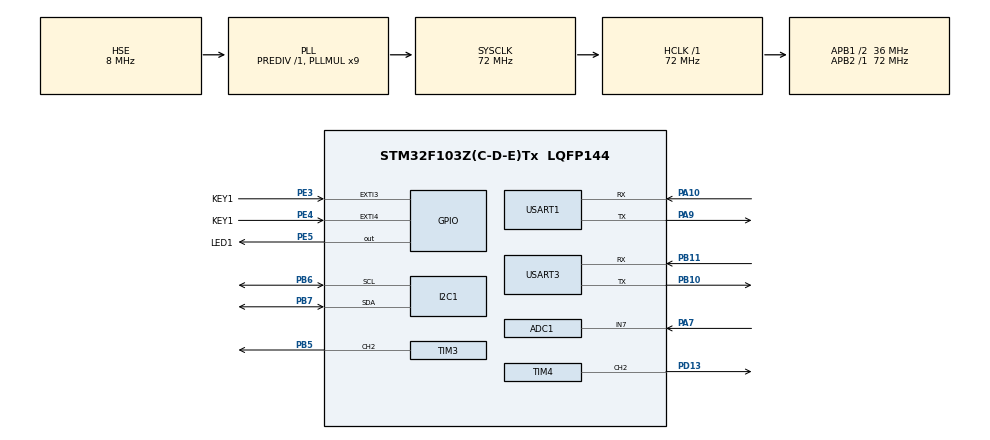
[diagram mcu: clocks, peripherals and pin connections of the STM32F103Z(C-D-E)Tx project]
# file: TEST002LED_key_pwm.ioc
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ADC1.Channel-0\#ChannelRegularConversion=ADC_CHANNEL_7
ADC1.Channel-1\#ChannelRegularConversion=ADC_CHANNEL_TEMPSENSOR
ADC1.Channel-2\#ChannelRegularConversion=ADC_CHANNEL_VREFINT
ADC1.ContinuousConvMode=ENABLE
ADC1.NbrOfConversion=3
ADC1.NbrOfConversionFlag=1
ADC1.Rank-0\#ChannelRegularConversion=1
ADC1.Rank-1\#ChannelRegularConversion=2
ADC1.Rank-2\#ChannelRegularConversion=3
ADC1.SamplingTime-0\#ChannelRegularConversion=ADC_SAMPLETIME_239CYCLES_5
ADC1.SamplingTime-1\#ChannelRegularConversion=ADC_SAMPLETIME_239CYCLES_5
ADC1.SamplingTime-2\#ChannelRegularConversion=ADC_SAMPLETIME_239CYCLES_5
ADC1.master=1
Dma.ADC1.0.Direction=DMA_PERIPH_TO_MEMORY
Dma.ADC1.0.Instance=DMA1_Channel1
Dma.ADC1.0.MemDataAlignment=DMA_MDATAALIGN_HALFWORD
Dma.ADC1.0.MemInc=DMA_MINC_ENABLE
Dma.ADC1.0.Mode=DMA_CIRCULAR
Dma.ADC1.0.PeriphDataAlignment=DMA_PDATAALIGN_HALFWORD
Dma.ADC1.0.PeriphInc=DMA_PINC_DISABLE
Dma.ADC1.0.Priority=DMA_PRIORITY_LOW
Dma.Request0=ADC1
Mcu.Family=STM32F1
Mcu.Name=STM32F103Z(C-D-E)Tx
Mcu.Package=LQFP144
NVIC.DMA1_Channel1_IRQn=true\:0\:0\:false\:false\:true\:false\:true\:true
NVIC.EXTI3_IRQn=true\:15\:0\:true\:false\:true\:true\:true\:true
NVIC.EXTI4_IRQn=true\:15\:0\:true\:false\:true\:true\:true\:true
NVIC.PriorityGroup=NVIC_PRIORITYGROUP_4
NVIC.TIM1_UP_IRQn=true\:0\:0\:false\:false\:true\:true\:true\:true
NVIC.TIM6_IRQn=true\:0\:0\:false\:false\:true\:true\:true\:true
NVIC.USART1_IRQn=true\:0\:0\:false\:false\:true\:true\:true\:true
NVIC.USART3_IRQn=true\:0\:0\:false\:false\:true\:true\:true\:true
OSC_IN.Mode=HSE-External-Oscillator
OSC_IN.Signal=RCC_OSC_IN
OSC_OUT.Mode=HSE-External-Oscillator
OSC_OUT.Signal=RCC_OSC_OUT
PA10.Mode=Asynchronous
PA10.Signal=USART1_RX
PA13.Mode=Serial_Wire
PA13.Signal=SYS_JTMS-SWDIO
PA14.Mode=Serial_Wire
PA14.Signal=SYS_JTCK-SWCLK
PA7.Signal=ADCx_IN7
PA9.Mode=Asynchronous
PA9.Signal=USART1_TX
PB10.Mode=Asynchronous
PB10.Signal=USART3_TX
PB11.Mode=Asynchronous
PB11.Signal=USART3_RX
PB5.Signal=S_TIM3_CH2
PB6.Mode=I2C
PB6.Signal=I2C1_SCL
PB7.Mode=I2C
PB7.Signal=I2C1_SDA
PC14-OSC32_IN.Mode=LSE-External-Oscillator
PC14-OSC32_IN.Signal=RCC_OSC32_IN
PC15-OSC32_OUT.Mode=LSE-External-Oscillator
PC15-OSC32_OUT.Signal=RCC_OSC32_OUT
PD13.Signal=S_TIM4_CH2
PE3.GPIO_Label=KEY1
PE3.GPIO_ModeDefaultEXTI=GPIO_MODE_IT_FALLING
PE3.GPIO_PuPd=GPIO_PULLUP
PE3.Signal=GPXTI3
PE4.GPIO_Label=KEY1
PE4.GPIO_ModeDefaultEXTI=GPIO_MODE_IT_FALLING
PE4.GPIO_PuPd=GPIO_PULLUP
PE4.Signal=GPXTI4
PE5.GPIO_Label=LED1
PE5.Signal=GPIO_Output
ProjectManager.HeapSize=0x200
ProjectManager.StackSize=0x400
ProjectManager.TargetToolchain=MDK-ARM V5.32
RCC.ADCPresc=RCC_ADCPCLK2_DIV8
RCC.AHBFreq_Value=72000000
RCC.APB1CLKDivider=RCC_HCLK_DIV2
RCC.APB1Freq_Value=36000000
RCC.APB1TimFreq_Value=72000000
RCC.APB2Freq_Value=72000000
RCC.APB2TimFreq_Value=72000000
RCC.HCLKFreq_Value=72000000
RCC.PLLMUL=RCC_PLL_MUL9
RCC.PLLSourceVirtual=RCC_PLLSOURCE_HSE
RCC.SYSCLKFreq_VALUE=72000000
RCC.SYSCLKSource=RCC_SYSCLKSOURCE_PLLCLK
RCC.USBFreq_Value=72000000
SH.ADCx_IN7.0=ADC1_IN7,IN7
SH.S_TIM3_CH2.0=TIM3_CH2,PWM Generation2 CH2
SH.S_TIM4_CH2.0=TIM4_CH2,PWM Generation2 CH2
TIM1.AutoReloadPreload=TIM_AUTORELOAD_PRELOAD_ENABLE
TIM1.Period=1800-1
TIM1.Prescaler=2500-1
TIM3.AutoReloadPreload=TIM_AUTORELOAD_PRELOAD_ENABLE
TIM3.Channel-PWM\ Generation2\ CH2=TIM_CHANNEL_2
TIM3.OCPolarity_2=TIM_OCPOLARITY_HIGH
TIM3.Period=10000-1
TIM3.Prescaler=144-1
TIM3.Pulse-PWM\ Generation2\ CH2=5000
TIM4.AutoReloadPreload=TIM_AUTORELOAD_PRELOAD_ENABLE
TIM4.Channel-PWM\ Generation2\ CH2=TIM_CHANNEL_2
TIM4.Period=65535-1
TIM4.Prescaler=6-1
TIM6.Period=65535-1
TIM6.Prescaler=6-1
TIM7.Period=1000
TIM7.Prescaler=2880
USART1.VirtualMode=VM_ASYNC
USART3.VirtualMode=VM_ASYNC
VP_ADC1_TempSens_Input.Mode=IN-TempSens
VP_ADC1_Vref_Input.Mode=IN-Vrefint
VP_TIM1_VS_ClockSourceINT.Mode=Internal
VP_TIM4_VS_ClockSourceINT.Mode=Internal
VP_TIM6_VS_ClockSourceINT.Mode=Enable_Timer
VP_TIM7_VS_ClockSourceINT.Mode=Enable_Timer
board=custom

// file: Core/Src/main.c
/* USER CODE BEGIN Header */
/**
  ******************************************************************************
  * @file           : main.c
  * @brief          : Main program body
  ******************************************************************************
  * @attention
  *
  * Copyright (c) 2024 STMicroelectronics.
  * All rights reserved.
  *
  * This software is licensed under terms that can be found in the LICENSE file
  * in the root directory of this software component.
  * If no LICENSE file comes with this software, it is provided AS-IS.
  *
  ******************************************************************************
  */
/* USER CODE END Header */
#include "main.h"
#include "adc.h"
#include "dma.h"
#include "i2c.h"
#include "tim.h"
#include "usart.h"
#include "gpio.h"
#include "ssd1306.h"
#include "fonts.h"
#include "string.h"

/* USER CODE BEGIN Includes */
#include "stdio.h"
/* USER CODE END Includes */

void SystemClock_Config(void);

/* USER CODE BEGIN 0 */

//设置TME3的CH2通道的周期时间
//参数newfrep为毫秒单位，整数，例如1代表1ms
uint8_t test[5]={1,2,3,4,5};
void Time3PWM(int newfrep)
{

}

 int originmynum=20;
 int mynum=20;
 int mycount=0;
 int pwmVal=0;
int myflag=1;
uint8_t myrebuf3[800]; //串口3接收缓冲区
uint8_t myrebuf1[800]; //串口1接收缓冲区
int mywritept3=0; //串口3写指针
int myreadpt3=0;  //串口3读指针
int myreadpt32=0;  //串口3读指针

int mywritept1=0; //串口1写指针
int myreadpt1=0;  //串口1读指针
uint16_t my_adbuff1[10][3];  //50行，3列。每个adc采集周期，填充一行数据，按先后顺序填充0-1-2
int BreaVelo=264;
float temp=0;
float tmpdata=0;
const int N=1e7;
void wait()
{
	for (int i=0;i<7*N;i++)
	{;
	}
}

void BeepPlay(char cmd)
{
	  int safevolume=0;
		int alertvolume=32767;
		if(cmd=='A')
		{
			 __HAL_TIM_SET_COMPARE(&htim4,TIM_CHANNEL_2,alertvolume); //控制占空比，调整音量
    //在不使用缓冲的情况下，必须把计数值清零
			__HAL_TIM_SET_COUNTER(&htim4,0);
		}
		else if (cmd=='S')
		{
				__HAL_TIM_SET_COMPARE(&htim4,TIM_CHANNEL_2,safevolume); //控制占空比，调整音量
			//在不使用缓冲的情况下，必须把计数值清零
			__HAL_TIM_SET_COUNTER(&htim4,0);
		}

}
void read()
{
		while(myreadpt1<mywritept1)
		{
			HAL_UART_Transmit(&huart3,&myrebuf1[myreadpt1++],1,1000);

		}
		if(myreadpt1>mywritept1)
			myreadpt1=0;

}

void send_to_tcpserver()
{

	//const char* Chat=chat;
	//strlen(Chat);
	char Cmd[100];
	//char end[20]="\r\n";
	sprintf(Cmd,"AT+CIPSEND\r\n");//必须是AT+CIPSEND 不能是AT+CIPSEND=《lenth》 和手册上写的不一样
	HAL_UART_Transmit(&huart3,(uint8_t*)Cmd,sizeof Cmd/sizeof Cmd[0],50000);
	printf("\nthis is cmd :%s \n",Cmd);
	wait();
	read();
	//HAL_UART_Transmit(&huart3,(uint8_t*)Chat,sizeof Chat/sizeof Chat[0],50000);
	//int test[]={66};
	//HAL_UART_Transmit(&huart3,(uint8_t*)test,sizeof test/sizeof test[0],2000);
	//printf("\nthis is chat :%s \n",Chat);
	//wait();
	//wait();
	//read();
	//char exit[]="+++\r\n";
	//HAL_UART_Transmit(&huart3,(uint8_t*)exit,sizeof exit/sizeof exit[0],50000);
}

void send_message()
{
	char sc[]="Heloo";
	char TempMsg[50]="";
	sprintf(TempMsg,"RTem:%.2f",tmpdata);
	printf("%s",TempMsg);
	printf("len:%d",strlen(TempMsg));
	HAL_UART_Transmit(&huart3,(uint8_t*)TempMsg,strlen(TempMsg),1000);
}
void connect()
{
	HAL_Delay(5000);
	//	uint8_t str[]={0x41, 0x54,0x0D,0xA};
	//	HAL_UART_Transmit(&huart3,(uint8_t*)str,sizeof str/sizeof str[0],1000);
	//	wait();
	//	read();
//	char str[]="AT\r\n";
//	HAL_UART_Transmit(&huart3,(uint8_t*)str,sizeof str/sizeof str[0],1000);
//	HAL_Delay(1000);
//	read();
	char SetMode[]="AT+CWMODE=1\r\n";
	HAL_UART_Transmit(&huart3,(uint8_t*)SetMode,sizeof SetMode/sizeof SetMode[0],1000);
	wait();
	char CntHotport[]="AT+CWJAP=\"max8\",\"12345678\"\r\n";
	HAL_UART_Transmit(&huart3,(uint8_t*)CntHotport,sizeof CntHotport/sizeof CntHotport[0],1000);
	wait();
	char SetCipmux[]="AT+CIPMUX=0\r\n";
	HAL_UART_Transmit(&huart3,(uint8_t*)SetCipmux,sizeof SetCipmux/sizeof SetCipmux[0],1000);
	wait();
	char TCPPierce[]= "AT+CIPMODE=1\r\n";
	HAL_UART_Transmit(&huart3,(uint8_t*)TCPPierce,sizeof TCPPierce/sizeof TCPPierce[0],1000);
	wait();
	char TCPCnt[]= "AT+CIPSTART=\"TCP\",\"192.168.76.186\",8088\r\n";
	printf("%s",TCPCnt);
	HAL_UART_Transmit(&huart3,(uint8_t*)TCPCnt,sizeof TCPCnt/sizeof TCPCnt[0],5000);
	wait();
	read();

	//char CheckIp[]= "AT+CIFSR\r\n";
	//HAL_UART_Transmit(&huart3,(uint8_t*)CheckIp,sizeof CheckIp/sizeof CheckIp[0],1000);
	//HAL_Delay(1000);
	//read();
	//char message[] ="mom";
	send_to_tcpserver();
}
/* USER CODE END 0 */

int main(void)
{

  /* MCU Configuration--------------------------------------------------------*/

  /* Reset of all peripherals, Initializes the Flash interface and the Systick. */
  HAL_Init();

  /* Configure the system clock */
  SystemClock_Config();

  /* Initialize all configured peripherals */
  MX_GPIO_Init();
  MX_DMA_Init();
  MX_TIM1_Init();
  MX_TIM6_Init();
  MX_TIM3_Init();
  MX_TIM4_Init();
  MX_USART1_UART_Init();
  MX_USART3_UART_Init();
  MX_ADC1_Init();
  MX_TIM7_Init();
  MX_I2C1_Init();
  /* USER CODE BEGIN 2 */

	HAL_TIM_Base_Start_IT(&htim1);
	HAL_TIM_Base_Start_IT(&htim6);
	HAL_TIM_Base_Start_IT(&htim4);
	HAL_TIM_PWM_Start(&htim3,TIM_CHANNEL_2);
	HAL_TIM_PWM_Start(&htim4,TIM_CHANNEL_2);

	//Time3PWM(1000);

	HAL_UART_Receive_IT(&huart1,&myrebuf1[mywritept1],1);//开启串口接收中断
	HAL_UART_Receive_IT(&huart3,&myrebuf3[mywritept3],1);//开启串口接收中断

	HAL_ADCEx_Calibration_Start(&hadc1);//开启转换前，先进行校准
	HAL_ADC_Start_DMA(&hadc1,(uint32_t *)&my_adbuff1[0][0],3*10);//开启ADC转换转换
	HAL_ADC_Start_IT(&hadc1);//开启ADC1中断
  /* USER CODE END 2 */

  /* Infinite loop */
  /* USER CODE BEGIN WHILE */

	//int mydata;
	ssd1306_Init(&hi2c1);

	int mydata1,mydata2,mydata3;
	int flag=0;

	connect();
  BeepPlay('S');
	while (1)
  {

		mydata1=mydata2=mydata3=0.0;
		for(int i=0;i<10;i++)
		{
			mydata2=mydata2+my_adbuff1[i][1];
		}
		float x1,x2,x3;
		x2=mydata2/10.0/4095*3.3;
		temp=(1.40-x2)/0.0043+25;
		tmpdata=temp;
		ssd1306_SetCursor(0, 36);
	  char scren[]="";
		sprintf(scren,"Tem:%.2f",tmpdata);
		ssd1306_WriteString(scren, Font_11x18, White);
		ssd1306_UpdateScreen(&hi2c1);
		HAL_GPIO_TogglePin(GPIOE,GPIO_PIN_5);
		//printf("this Is tmp2：%.2f",temp);
		if(temp>=30.0||temp<=27.0){
			BeepPlay('A');
			sprintf(scren,"warning!");
			ssd1306_WriteString(scren, Font_11x18, White);
			ssd1306_UpdateScreen(&hi2c1);
		}
		else
		{
			BeepPlay('S');
		}
		if(temp-31>0)
		{
			temp=8;
		}
		else  if( temp -24<=0){
			temp=1;
		}
		else {
			temp=temp-24;
		}
		if(flag<=0){BreaVelo=(int)(40*temp);}
		flag=flag-1;;
		HAL_Delay(500);

		//HAL_UART_Transmit(&huart1,(uint8_t*)TempMsg,sizeof TempMsg/sizeof TempMsg[0],50000);
		//printf("data2=%d,%.2f,sp%d" ,mydata2/10,temp,BreaVelo);

		while(myreadpt3<mywritept3)
		{
			HAL_UART_Transmit(&huart1,&myrebuf3[myreadpt3++],1,1000);

		}
		if(myreadpt3>mywritept3)
			myreadpt3=0;

		//UART1接收的数据转发给UART3
		while(myreadpt1<mywritept1)
		{
			HAL_UART_Transmit(&huart3,&myrebuf1[myreadpt1++],1,1000);

		}
		if(myreadpt1>mywritept1)
			myreadpt1=0;

		//HAL_GPIO_TogglePin(GPIOE,GPIO_PIN_5);
		//HAL_UART_Transmit(&huart1,myrebuf3,100,1000);

		//串口3接收到的帧数据解析
		//10H,XX,YY,CRC,16H,其中XX为低字节，yy为高自己，CRC为校验不用了

	while(myreadpt32<mywritept3)
		{
			if(myrebuf3[myreadpt32]==0X10 && myrebuf3[myreadpt32+4]==0x16)
			{
				if(myrebuf3[myreadpt32+1]==0X11&&myrebuf3[myreadpt32+2]==0x12)
				{
					HAL_GPIO_TogglePin(GPIOE,GPIO_PIN_5);
					BreaVelo=330;
					flag=3;
				}
				else{

				}
			}
			myreadpt32++; //读指针移动

		}
		if(myreadpt32>mywritept3) //读指针校正
			myreadpt32=0;
		HAL_Delay(500);
		send_message();
		HAL_Delay(500);

    /* USER CODE END WHILE */

  }
}

void SystemClock_Config(void)
{
  RCC_OscInitTypeDef RCC_OscInitStruct = {0};
  RCC_ClkInitTypeDef RCC_ClkInitStruct = {0};
  RCC_PeriphCLKInitTypeDef PeriphClkInit = {0};

  /** Initializes the RCC Oscillators according to the specified parameters
  * in the RCC_OscInitTypeDef structure.
  */
  RCC_OscInitStruct.OscillatorType = RCC_OSCILLATORTYPE_HSE;
  RCC_OscInitStruct.HSEState = RCC_HSE_ON;
  RCC_OscInitStruct.HSEPredivValue = RCC_HSE_PREDIV_DIV1;
  RCC_OscInitStruct.HSIState = RCC_HSI_ON;
  RCC_OscInitStruct.PLL.PLLState = RCC_PLL_ON;
  RCC_OscInitStruct.PLL.PLLSource = RCC_PLLSOURCE_HSE;
  RCC_OscInitStruct.PLL.PLLMUL = RCC_PLL_MUL9;
  if (HAL_RCC_OscConfig(&RCC_OscInitStruct) != HAL_OK)
  {
    Error_Handler();
  }

  /** Initializes the CPU, AHB and APB buses clocks
  */
  RCC_ClkInitStruct.ClockType = RCC_CLOCKTYPE_HCLK|RCC_CLOCKTYPE_SYSCLK
                              |RCC_CLOCKTYPE_PCLK1|RCC_CLOCKTYPE_PCLK2;
  RCC_ClkInitStruct.SYSCLKSource = RCC_SYSCLKSOURCE_PLLCLK;
  RCC_ClkInitStruct.AHBCLKDivider = RCC_SYSCLK_DIV1;
  RCC_ClkInitStruct.APB1CLKDivider = RCC_HCLK_DIV2;
  RCC_ClkInitStruct.APB2CLKDivider = RCC_HCLK_DIV1;

  if (HAL_RCC_ClockConfig(&RCC_ClkInitStruct, FLASH_LATENCY_2) != HAL_OK)
  {
    Error_Handler();
  }
  PeriphClkInit.PeriphClockSelection = RCC_PERIPHCLK_ADC;
  PeriphClkInit.AdcClockSelection = RCC_ADCPCLK2_DIV8;
  if (HAL_RCCEx_PeriphCLKConfig(&PeriphClkInit) != HAL_OK)
  {
    Error_Handler();
  }
}

/* USER CODE BEGIN 4 */

void HAL_TIM_PeriodElapsedCallback(TIM_HandleTypeDef *htim)
{
	if(htim==&htim6)
	{
		int mypwmduty_max=10000;
		if(myflag==1)
		{
			pwmVal=pwmVal+BreaVelo;
			if(pwmVal>=mypwmduty_max)
			{
				myflag=0;
				pwmVal=mypwmduty_max;
			}
				__HAL_TIM_SetCompare(&htim3, TIM_CHANNEL_2, pwmVal);    //?????,????
		}
		if(myflag==0)
		{
			pwmVal=pwmVal-BreaVelo;

			if(pwmVal<=0)
			{
				myflag=1;
				pwmVal=0;
			}
			__HAL_TIM_SetCompare(&htim3, TIM_CHANNEL_2, pwmVal);    //?????,?????
		}
		//HAL_GPIO_TogglePin(led1_GPIO_Port,led1_Pin);
	}
}

void HAL_UART_RxCpltCallback(UART_HandleTypeDef *huart)
{

	//串口1接收处理
	if(huart==&huart1)
	{

		uint8_t ret = HAL_OK;
   mywritept1++;    //写指针移动
	if(mywritept1>=780) mywritept1=0;

    do
    {
			ret = HAL_UART_Receive_IT(&huart1,&myrebuf1[mywritept1],1); //开启接收USART1函数
    }while(ret != HAL_OK);

	}

	//串口3接收处理
	if(huart==&huart3)
	{

		uint8_t ret = HAL_OK;
   mywritept3++;    //写指针移动
		if(mywritept3>=780) mywritept3=0;

    do
    {
			ret = HAL_UART_Receive_IT(&huart3,&myrebuf3[mywritept3],1); //开启接收USART3函数
    }while(ret != HAL_OK);

	}

}

int fputc(int ch, FILE *f)
{
    HAL_UART_Transmit(&huart1, (uint8_t *)&ch, 1, 0xFFFF);
    return ch;
}

void HAL_ADC_ConvCpltCallback(ADC_HandleTypeDef* hadc)
{
    if(hadc==(&hadc1))
    {
     //获取AD值
        my_adbuff1[0][0]=HAL_ADC_GetValue(&hadc1);

    }
}

/* USER CODE END 4 */

void Error_Handler(void)
{
  __disable_irq();
  while (1)
  {
  }
}
